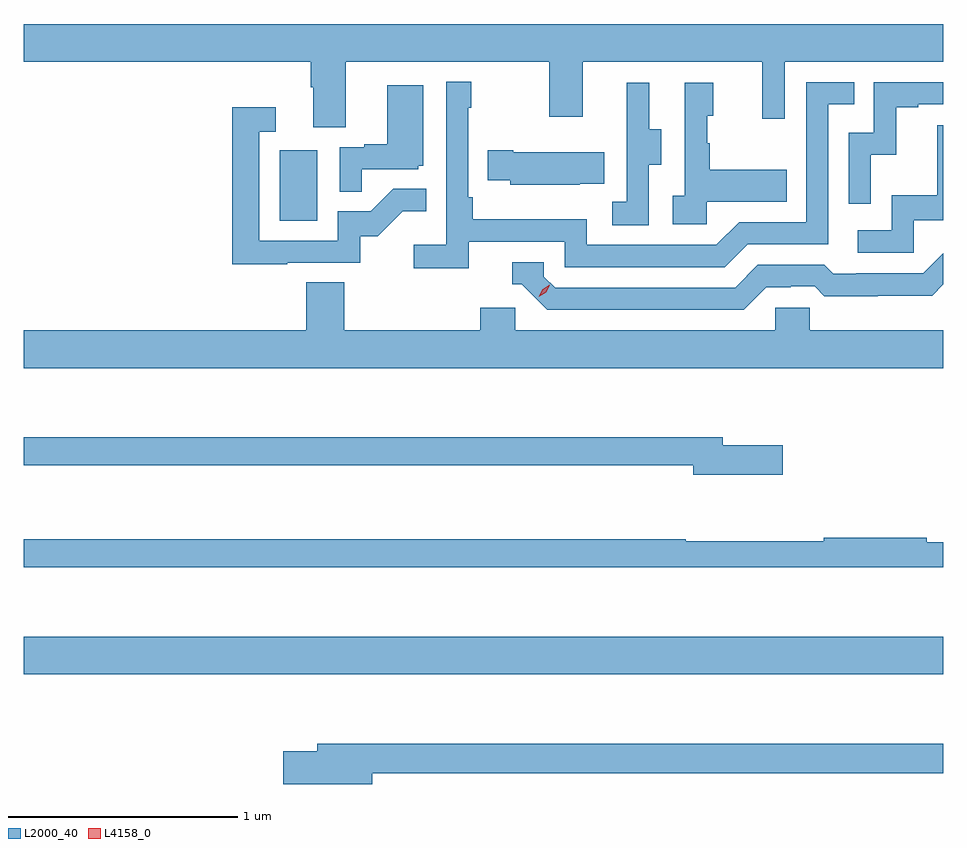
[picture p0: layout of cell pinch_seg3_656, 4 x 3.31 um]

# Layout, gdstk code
import gdstk
lib = gdstk.Library(unit=1e-6, precision=1e-09)
def R(c, l, rs):  # rectangles x0, y0, x1, y1
    for r in rs: c.add(gdstk.rectangle(r[:2], r[2:], *l))
def P(c, l, *ps):  # polygons
    for p in ps: c.add(gdstk.Polygon(p, *l))
L2000_40 = (2000, 40)
L4158_0 = (4158, 0)

pinch_seg3_656 = lib.new_cell('pinch_seg3_656')
R(pinch_seg3_656, L2000_40, [(1059.533,683.6,1063.533,683.764), (1060.646,685.572,1060.81,685.879)])
P(pinch_seg3_656, L2000_40, [(1060.933,686.264),(1061.818,686.264),(1061.818,686.025),(1061.965,686.025),(1061.965,686.264),(1062.746,686.264),(1062.746,686.016),(1062.843,686.016),(1062.843,686.264),(1063.533,686.264),(1063.533,686.428),(1059.533,686.428),(1059.533,686.264),(1060.781,686.264),(1060.781,686.152),(1060.793,686.152),(1060.793,685.978),(1060.933,685.978)],
  [(1061.468,685.482),(1061.886,685.482),(1061.886,685.371),(1062.583,685.371),(1062.682,685.47),(1063.032,685.47),(1063.032,686.079),(1063.145,686.079),(1063.145,686.175),(1062.936,686.175),(1062.936,685.566),(1062.645,685.566),(1062.546,685.467),(1061.982,685.467),(1061.982,685.579),(1061.486,685.579),(1061.486,685.675),(1061.466,685.675),(1061.466,686.063),(1061.479,686.063),(1061.479,686.176),(1061.37,686.176),(1061.37,685.468),(1061.229,685.468),(1061.229,685.366),(1061.468,685.366)],
  [(1063.218,685.859),(1063.328,685.859),(1063.328,686.067),(1063.423,686.067),(1063.423,686.079),(1063.533,686.079),(1063.533,686.175),(1063.23,686.175),(1063.23,685.956),(1063.122,685.956),(1063.122,685.647),(1063.218,685.647)],
  [(1062.252,685.816),(1062.307,685.816),(1062.307,685.971),(1062.253,685.971),(1062.253,686.173),(1062.155,686.173),(1062.155,685.959),(1062.156,685.959),(1062.156,685.655),(1062.093,685.655),(1062.093,685.552),(1062.252,685.552)],
  [(1062.504,685.655),(1062.851,685.655),(1062.851,685.795),(1062.517,685.795),(1062.517,685.91),(1062.507,685.91),(1062.507,686.028),(1062.532,686.028),(1062.532,686.173),(1062.408,686.173),(1062.408,685.682),(1062.357,685.682),(1062.357,685.557),(1062.504,685.557)],
  [(1061.003,685.797),(1061.25,685.797),(1061.25,685.812),(1061.272,685.812),(1061.272,686.161),(1061.114,686.161),(1061.114,685.906),(1061.015,685.906),(1061.015,685.893),(1060.908,685.893),(1060.908,685.699),(1061.003,685.699)],
  [(1060.679,685.389),(1060.998,685.389),(1060.998,685.506),(1061.074,685.506),(1061.181,685.613),(1061.285,685.613),(1061.285,685.712),(1061.141,685.712),(1061.043,685.614),(1060.899,685.614),(1060.899,685.485),(1060.557,685.485),(1060.557,685.959),(1060.63,685.959),(1060.63,686.065),(1060.441,686.065),(1060.441,685.384),(1060.679,685.384)],
  [(1063.404,685.575),(1063.533,685.575),(1063.533,685.987),(1063.507,685.987),(1063.507,685.684),(1063.308,685.684),(1063.308,685.53),(1063.161,685.53),(1063.161,685.434),(1063.404,685.434)],
  [(1061.951,685.733),(1062.059,685.733),(1062.059,685.87),(1061.662,685.87),(1061.662,685.878),(1061.551,685.878),(1061.551,685.748),(1061.649,685.748),(1061.649,685.73),(1061.951,685.73)],
  [(1062.763,685.284),(1062.87,685.284),(1062.87,685.287),(1062.973,685.287),(1063.015,685.245),(1063.248,685.245),(1063.248,685.247),(1063.484,685.247),(1063.533,685.296),(1063.533,685.431),(1063.446,685.344),(1063.153,685.344),(1063.153,685.341),(1063.054,685.341),(1063.015,685.38),(1062.726,685.38),(1062.627,685.281),(1061.844,685.281),(1061.796,685.329),(1061.796,685.392),(1061.657,685.392),(1061.657,685.296),(1061.7,685.296),(1061.811,685.185),(1062.664,685.185)],
  [(1063.533,685.096),(1062.951,685.096),(1062.951,685.194),(1062.801,685.194),(1062.801,685.096),(1061.67,685.096),(1061.67,685.194),(1061.519,685.194),(1061.519,685.096),(1060.928,685.096),(1060.928,685.304),(1060.763,685.304),(1060.763,685.096),(1059.533,685.096),(1059.533,684.932),(1063.533,684.932)],
  [(1062.835,684.597),(1062.574,684.597),(1062.574,684.631),(1059.533,684.631),(1059.533,684.51),(1062.446,684.51),(1062.446,684.467),(1062.835,684.467)],
  [(1063.533,684.174),(1063.46,684.174),(1063.46,684.194),(1063.012,684.194),(1063.012,684.179),(1062.412,684.179),(1062.412,684.187),(1059.533,684.187),(1059.533,684.066),(1063.533,684.066)],
  [(1061.05,683.17),(1063.533,683.17),(1063.533,683.299),(1060.811,683.299),(1060.811,683.265),(1060.662,683.265),(1060.662,683.123),(1061.05,683.123)])
P(pinch_seg3_656, L4158_0, [(1061.774,685.242),(1061.774,685.242),(1061.79,685.275),(1061.821,685.294),(1061.821,685.294),(1061.821,685.294),(1061.805,685.261),(1061.774,685.242)])

lib.write_gds('pinch_seg3_656.gds')
